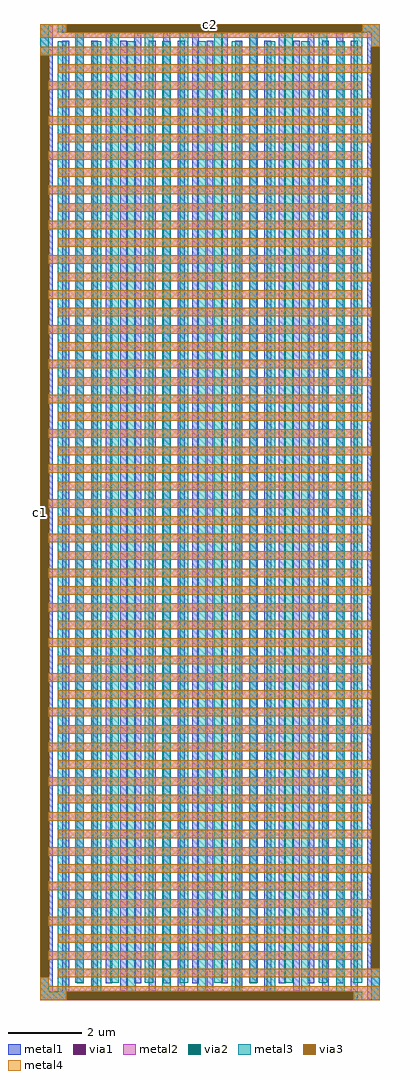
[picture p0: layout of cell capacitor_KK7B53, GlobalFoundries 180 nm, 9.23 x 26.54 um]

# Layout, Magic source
magic
tech gf180mcuD
magscale 3 26
<< metal1 >>
rect 0 4453 60 4600
rect 104 4599 1600 4600
rect 104 4559 142 4599
rect 1498 4559 1600 4599
rect 104 4558 1600 4559
rect 0 107 1 4453
rect 41 107 60 4453
rect 0 42 60 107
rect 104 42 136 4522
rect 172 78 204 4558
rect 240 42 272 4522
rect 308 78 340 4558
rect 376 42 408 4522
rect 444 78 476 4558
rect 512 42 544 4522
rect 580 78 612 4558
rect 648 42 680 4522
rect 716 78 748 4558
rect 784 42 816 4522
rect 852 78 884 4558
rect 920 42 952 4522
rect 988 78 1020 4558
rect 1056 42 1088 4522
rect 1124 78 1156 4558
rect 1192 42 1224 4522
rect 1260 78 1292 4558
rect 1328 42 1360 4522
rect 1396 78 1428 4558
rect 1464 42 1496 4522
rect 0 41 1496 42
rect 0 1 142 41
rect 1458 1 1496 41
rect 0 0 1496 1
rect 1540 4493 1600 4558
rect 1540 147 1559 4493
rect 1599 147 1600 4493
rect 1540 0 1600 147
<< via1 >>
rect 142 4559 1498 4599
rect 1 107 41 4453
rect 142 1 1458 41
rect 1559 147 1599 4493
<< metal2 >>
rect 0 4560 123 4600
rect 1517 4560 1600 4600
rect 0 4559 142 4560
rect 1498 4559 1600 4560
rect 0 4535 1600 4559
rect 1559 4493 1600 4535
rect 0 4453 1516 4493
rect 84 4371 1559 4411
rect 41 4289 1516 4329
rect 84 4207 1559 4247
rect 41 4125 1516 4165
rect 84 4043 1559 4083
rect 41 3961 1516 4001
rect 84 3879 1559 3919
rect 41 3797 1516 3837
rect 84 3715 1559 3755
rect 41 3633 1516 3673
rect 84 3551 1559 3591
rect 41 3469 1516 3509
rect 84 3387 1559 3427
rect 41 3305 1516 3345
rect 84 3223 1559 3263
rect 41 3141 1516 3181
rect 84 3059 1559 3099
rect 41 2977 1516 3017
rect 84 2895 1559 2935
rect 41 2813 1516 2853
rect 84 2731 1559 2771
rect 41 2649 1516 2689
rect 84 2567 1559 2607
rect 41 2485 1516 2525
rect 84 2403 1559 2443
rect 41 2321 1516 2361
rect 84 2239 1559 2279
rect 41 2157 1516 2197
rect 84 2075 1559 2115
rect 41 1993 1516 2033
rect 84 1911 1559 1951
rect 41 1829 1516 1869
rect 84 1747 1559 1787
rect 41 1665 1516 1705
rect 84 1583 1559 1623
rect 41 1501 1516 1541
rect 84 1419 1559 1459
rect 41 1337 1516 1377
rect 84 1255 1559 1295
rect 41 1173 1516 1213
rect 84 1091 1559 1131
rect 41 1009 1516 1049
rect 84 927 1559 967
rect 41 845 1516 885
rect 84 763 1559 803
rect 41 681 1516 721
rect 84 599 1559 639
rect 41 517 1516 557
rect 84 435 1559 475
rect 41 353 1516 393
rect 84 271 1559 311
rect 41 189 1516 229
rect 84 107 1600 147
rect 0 65 41 107
rect 0 41 1600 65
rect 0 40 142 41
rect 1458 40 1600 41
rect 0 0 123 40
rect 1477 0 1600 40
<< via2 >>
rect 123 4599 1517 4600
rect 123 4560 142 4599
rect 142 4560 1498 4599
rect 1498 4560 1517 4599
rect 0 107 1 4453
rect 1 107 40 4453
rect 1560 147 1599 4493
rect 1599 147 1600 4493
rect 123 1 142 40
rect 142 1 1458 40
rect 1458 1 1477 40
rect 123 0 1477 1
<< metal3 >>
rect 0 4453 41 4600
rect 83 4560 123 4600
rect 1517 4560 1600 4600
rect 40 107 41 4453
rect 0 40 41 107
rect 83 40 123 4518
rect 165 82 205 4560
rect 247 40 287 4518
rect 329 82 369 4560
rect 411 40 451 4518
rect 493 82 533 4560
rect 575 40 615 4518
rect 657 82 697 4560
rect 739 40 779 4518
rect 821 82 861 4560
rect 903 40 943 4518
rect 985 82 1025 4560
rect 1067 40 1107 4518
rect 1149 82 1189 4560
rect 1231 40 1271 4518
rect 1313 82 1353 4560
rect 1395 40 1435 4518
rect 1477 82 1517 4560
rect 1559 4493 1600 4560
rect 1559 147 1560 4493
rect 0 0 123 40
rect 1477 0 1517 40
rect 1559 0 1600 147
<< via3 >>
rect 123 4560 1517 4600
rect 0 107 40 4453
rect 1560 147 1600 4493
rect 123 0 1477 40
<< metal4 >>
rect 0 4560 123 4600
rect 1517 4560 1600 4600
rect 0 4535 1600 4560
rect 1560 4493 1600 4535
rect 0 4453 1518 4493
rect 82 4371 1560 4411
rect 40 4289 1518 4329
rect 82 4207 1560 4247
rect 40 4125 1518 4165
rect 82 4043 1560 4083
rect 40 3961 1518 4001
rect 82 3879 1560 3919
rect 40 3797 1518 3837
rect 82 3715 1560 3755
rect 40 3633 1518 3673
rect 82 3551 1560 3591
rect 40 3469 1518 3509
rect 82 3387 1560 3427
rect 40 3305 1518 3345
rect 82 3223 1560 3263
rect 40 3141 1518 3181
rect 82 3059 1560 3099
rect 40 2977 1518 3017
rect 82 2895 1560 2935
rect 40 2813 1518 2853
rect 82 2731 1560 2771
rect 40 2649 1518 2689
rect 82 2567 1560 2607
rect 40 2485 1518 2525
rect 82 2403 1560 2443
rect 40 2321 1518 2361
rect 82 2239 1560 2279
rect 40 2157 1518 2197
rect 82 2075 1560 2115
rect 40 1993 1518 2033
rect 82 1911 1560 1951
rect 40 1829 1518 1869
rect 82 1747 1560 1787
rect 40 1665 1518 1705
rect 82 1583 1560 1623
rect 40 1501 1518 1541
rect 82 1419 1560 1459
rect 40 1337 1518 1377
rect 82 1255 1560 1295
rect 40 1173 1518 1213
rect 82 1091 1560 1131
rect 40 1009 1518 1049
rect 82 927 1560 967
rect 40 845 1518 885
rect 82 763 1560 803
rect 40 681 1518 721
rect 82 599 1560 639
rect 40 517 1518 557
rect 82 435 1560 475
rect 40 353 1518 393
rect 82 271 1560 311
rect 40 189 1518 229
rect 82 107 1600 147
rect 0 65 40 107
rect 0 40 1600 65
rect 0 0 123 40
rect 1477 0 1600 40
<< labels >>
rlabel via3 2 2300 2 2300 0 c1
port 1 nsew
rlabel via3 800 4598 800 4598 0 c2
port 2 nsew
<< properties >>
string device csubckt cap_cmomf 0 0 1 1 w=8u l=23u mmin=1 mmax=4 subblock=0 mm_ok=1 c1 0 0 c2 0 0
string FIXED_BBOX 0 0 1600 4600
string gencell cap_cmomf
string library gf180mcu
string parameters w 8.00 l 23.00 value 236.808 class capacitor mmin metal1 mmax metal4 square 1 subblock 0 lmin 2.00 wmin 2.00 lmax 100.0 wmax 100.0
<< end >>
